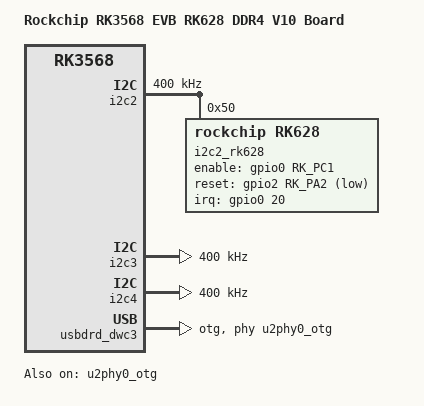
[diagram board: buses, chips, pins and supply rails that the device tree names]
// SPDX-License-Identifier: (GPL-2.0+ OR MIT)
/*
 * Copyright (c) 2020 Rockchip Electronics Co., Ltd.
 *
 */

/dts-v1/;

#include <dt-bindings/gpio/gpio.h>
#include <dt-bindings/pinctrl/rockchip.h>
#include "rk3568.dtsi"
#include "rk3568-evb.dtsi"

/ {
	model = "Rockchip RK3568 EVB RK628 DDR4 V10 Board";
	compatible = "rockchip,rk3568-evb-rk628-ddr4-v10", "rockchip,rk3568";

	rk628_sound: rk628-sound {
		compatible = "simple-audio-card";
		simple-audio-card,format = "i2s";
		simple-audio-card,mclk-fs = <128>;
		simple-audio-card,name = "rockchip,hdmi-rk628";
		status = "disabled";

		simple-audio-card,cpu {
				sound-dai = <&i2s2_2ch>;
		};
		simple-audio-card,codec {
				sound-dai = <&i2c2_rk628>;
		};
	};
};

&i2c2 {
	clock-frequency = <400000>;
	status = "okay";

	i2c2_rk628: rk628@50 {
		compatible = "rockchip,rk628";
		reg = <0x50>;
		interrupt-parent = <&gpio0>;
		interrupts = <20 IRQ_TYPE_LEVEL_HIGH>;
		enable-gpios = <&gpio0 RK_PC1 GPIO_ACTIVE_HIGH>;
		reset-gpios = <&gpio2 RK_PA2 GPIO_ACTIVE_LOW>;
		#sound-dai-cells = <0>;
		pinctrl-names = "default";
		pinctrl-0 = <&rk628_reset>;
		status = "okay";
	};
};

&i2c3 {
	clock-frequency = <400000>;
	status = "okay";

	i2c3_rk628: rk628@51 {
		compatible = "rockchip,rk628";
		reg = <0x51>;

		/* external test board
		 * rk628_int1: gpio1_a5
		 * rk628_reset1: gpio1_a6
		 * rk628_int2: gpio1_a7
		 * rk628_reset2: gpio1_b0
		 */
		interrupt-parent = <&gpio1>;
		interrupts = <5 IRQ_TYPE_LEVEL_HIGH>;
		reset-gpios = <&gpio1 RK_PA6 GPIO_ACTIVE_LOW>;
		status = "disabled";
	};
};

&i2c4 {
	pinctrl-names = "default";
	pinctrl-0 = <&i2c4m1_xfer>;
	clock-frequency = <400000>;
	status = "okay";

	i2c4_rk628: rk628@50 {
		compatible = "rockchip,rk628";
		reg = <0x50>;

		interrupt-parent = <&gpio2>;
		interrupts = <15 IRQ_TYPE_LEVEL_HIGH>;
		enable-gpios = <&gpio2 RK_PC0 GPIO_ACTIVE_HIGH>;
		reset-gpios = <&gpio2 RK_PB0 GPIO_ACTIVE_LOW>;
		status = "disabled";
	};
};

&i2c5 {
	status = "disabled";
};

&i2s1_8ch {
	status = "disabled";
};

&pinctrl {
	rk628 {
		rk628_reset: rk628-reset {
			rockchip,pins = <2 RK_PA2 RK_FUNC_GPIO &pcfg_pull_none>;
		};
	};
};

&pwm5 {
	status = "disabled";
};

&pwm7 {
	status = "disabled";
};

&pmu_io_domains {
	status = "okay";
	pmuio1-supply = <&vcc3v3_pmu>;
	pmuio2-supply = <&vcc3v3_pmu>;
	vccio1-supply = <&vcc_3v3>;
	vccio3-supply = <&vcc_3v3>;
	vccio4-supply = <&vcc_3v3>;
	vccio5-supply = <&vcc_3v3>;
	vccio6-supply = <&vcc_3v3>;
	vccio7-supply = <&vcc_3v3>;
};

&sdmmc0 {
	status = "disabled";
};

&spdif_8ch {
	status = "disabled";
};

&spdif_out {
	status = "disabled";
};

&u2phy0_otg {
	 /delete-property/ vbus-supply;
	status = "okay";
};

&usbdrd_dwc3 {
	dr_mode = "otg";
	phys = <&u2phy0_otg>;
	phy-names = "usb2-phy";
	extcon = <&usb2phy0>;
	maximum-speed = "high-speed";
	snps,dis_u2_susphy_quirk;
	status = "okay";
};

&vcc3v3_lcd0_n {
	gpio = <&gpio2 RK_PA4 GPIO_ACTIVE_HIGH>;
	enable-active-high;
};

&vcc3v3_lcd1_n {
	status = "disabled";
};

&wireless_wlan {
	status = "disabled";
};

&wireless_bluetooth {
	status = "disabled";
};
